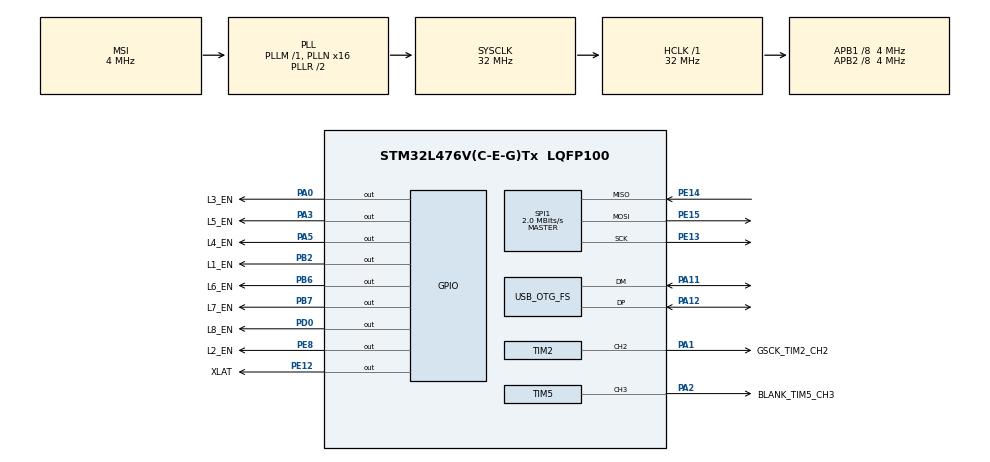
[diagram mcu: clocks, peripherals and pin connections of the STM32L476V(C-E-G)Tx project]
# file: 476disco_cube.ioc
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Mcu.Family=STM32L4
Mcu.Name=STM32L476V(C-E-G)Tx
Mcu.Package=LQFP100
NVIC.OTG_FS_IRQn=true\:0\:0\:false\:false\:true\:false\:true
NVIC.PriorityGroup=NVIC_PRIORITYGROUP_4
NVIC.TIM5_IRQn=true\:1\:0\:true\:false\:true\:true\:true
PA0.GPIO_Label=L3_EN
PA0.GPIO_ModeDefaultOutputPP=GPIO_MODE_OUTPUT_OD
PA0.PinState=GPIO_PIN_SET
PA0.Signal=GPIO_Output
PA1.GPIO_Label=GSCK_TIM2_CH2
PA1.Signal=S_TIM2_CH2
PA11.Mode=Device_Only
PA11.Signal=USB_OTG_FS_DM
PA12.Mode=Device_Only
PA12.Signal=USB_OTG_FS_DP
PA2.GPIO_Label=BLANK_TIM5_CH3
PA2.Signal=S_TIM5_CH3
PA3.GPIO_Label=L5_EN
PA3.GPIO_ModeDefaultOutputPP=GPIO_MODE_OUTPUT_OD
PA3.PinState=GPIO_PIN_SET
PA3.Signal=GPIO_Output
PA5.GPIO_Label=L4_EN
PA5.GPIO_ModeDefaultOutputPP=GPIO_MODE_OUTPUT_OD
PA5.PinState=GPIO_PIN_SET
PA5.Signal=GPIO_Output
PB2.GPIO_Label=L1_EN
PB2.GPIO_ModeDefaultOutputPP=GPIO_MODE_OUTPUT_OD
PB2.PinState=GPIO_PIN_SET
PB2.Signal=GPIO_Output
PB6.GPIO_Label=L6_EN
PB6.GPIO_ModeDefaultOutputPP=GPIO_MODE_OUTPUT_OD
PB6.PinState=GPIO_PIN_SET
PB6.Signal=GPIO_Output
PB7.GPIO_Label=L7_EN
PB7.GPIO_ModeDefaultOutputPP=GPIO_MODE_OUTPUT_OD
PB7.PinState=GPIO_PIN_SET
PB7.Signal=GPIO_Output
PD0.GPIO_Label=L8_EN
PD0.GPIO_ModeDefaultOutputPP=GPIO_MODE_OUTPUT_OD
PD0.PinState=GPIO_PIN_SET
PD0.Signal=GPIO_Output
PE12.GPIO_Label=XLAT
PE12.PinState=GPIO_PIN_RESET
PE12.Signal=GPIO_Output
PE13.Mode=Full_Duplex_Master
PE13.Signal=SPI1_SCK
PE14.Mode=Full_Duplex_Master
PE14.Signal=SPI1_MISO
PE15.Mode=Full_Duplex_Master
PE15.Signal=SPI1_MOSI
PE8.GPIO_Label=L2_EN
PE8.GPIO_ModeDefaultOutputPP=GPIO_MODE_OUTPUT_OD
PE8.PinState=GPIO_PIN_SET
PE8.Signal=GPIO_Output
ProjectManager.HeapSize=0x2000
ProjectManager.StackSize=0x4000
ProjectManager.TargetToolchain=MDK-ARM V5
RCC.ADCFreq_Value=48000000
RCC.AHBFreq_Value=32000000
RCC.APB1CLKDivider=RCC_HCLK_DIV8
RCC.APB1Freq_Value=4000000
RCC.APB1TimFreq_Value=8000000
RCC.APB2CLKDivider=RCC_HCLK_DIV8
RCC.APB2Freq_Value=4000000
RCC.APB2TimFreq_Value=8000000
RCC.CortexFreq_Value=4000000
RCC.Cortex_Div=SYSTICK_CLKSOURCE_HCLK_DIV8
RCC.HCLKFreq_Value=32000000
RCC.HSE_VALUE=8000000
RCC.HSI_VALUE=16000000
RCC.LSE_VALUE=32768
RCC.MSI_VALUE=4000000
RCC.PLLN=16
RCC.PLLSAI1N=24
RCC.SYSCLKFreq_VALUE=32000000
RCC.SYSCLKSource=RCC_SYSCLKSOURCE_PLLCLK
RCC.USBFreq_Value=48000000
RCC.VCOOutputFreq_Value=64000000
SH.S_TIM2_CH2.0=TIM2_CH2,Output Compare2 CH2
SH.S_TIM5_CH3.0=TIM5_CH3,Output Compare3 CH3
SPI1.CalculateBaudRate=2.0 MBits/s
SPI1.DataSize=SPI_DATASIZE_8BIT
SPI1.Direction=SPI_DIRECTION_2LINES
SPI1.Mode=SPI_MODE_MASTER
SPI1.VirtualType=VM_MASTER
TIM2.Channel-Output\ Compare2\ CH2=TIM_CHANNEL_2
TIM2.OCMode_2=TIM_OCMODE_TOGGLE
TIM2.Period=1
TIM2.Pulse-Output\ Compare2\ CH2=1
TIM5.Channel-Output\ Compare3\ CH3=TIM_CHANNEL_3
TIM5.OCMode_3=TIM_OCMODE_ACTIVE
TIM5.Period=16383
TIM5.Pulse-Output\ Compare3\ CH3=16383
TIM5.TIM_MasterOutputTrigger=TIM_TRGO_UPDATE
USB_DEVICE.CLASS_NAME_FS=CDC
USB_DEVICE.VirtualMode=Cdc
USB_DEVICE.VirtualModeFS=Cdc_FS
USB_OTG_FS.VirtualMode=Device_Only
VP_USB_DEVICE_VS_USB_DEVICE_CDC_FS.Mode=CDC_FS
board=custom

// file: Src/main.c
/**
  ******************************************************************************
  * @file           : main.c
  * @brief          : Main program body
  ******************************************************************************
  * This notice applies to any and all portions of this file
  * that are not between comment pairs USER CODE BEGIN and
  * USER CODE END. Other portions of this file, whether
  * inserted by the user or by software development tools
  * are owned by their respective copyright owners.
  *
  * Copyright (c) 2019 STMicroelectronics International N.V.
  * All rights reserved.
  *
  * Redistribution and use in source and binary forms, with or without
  * modification, are permitted, provided that the following conditions are met:
  *
  * 1. Redistribution of source code must retain the above copyright notice,
  *    this list of conditions and the following disclaimer.
  * 2. Redistributions in binary form must reproduce the above copyright notice,
  *    this list of conditions and the following disclaimer in the documentation
  *    and/or other materials provided with the distribution.
  * 3. Neither the name of STMicroelectronics nor the names of other
  *    contributors to this software may be used to endorse or promote products
  *    derived from this software without specific written permission.
  * 4. This software, including modifications and/or derivative works of this
  *    software, must execute solely and exclusively on microcontroller or
  *    microprocessor devices manufactured by or for STMicroelectronics.
  * 5. Redistribution and use of this software other than as permitted under
  *    this license is void and will automatically terminate your rights under
  *    this license.
  *
  * THIS SOFTWARE IS PROVIDED BY STMICROELECTRONICS AND CONTRIBUTORS "AS IS"
  * AND ANY EXPRESS, IMPLIED OR STATUTORY WARRANTIES, INCLUDING, BUT NOT
  * LIMITED TO, THE IMPLIED WARRANTIES OF MERCHANTABILITY, FITNESS FOR A
  * PARTICULAR PURPOSE AND NON-INFRINGEMENT OF THIRD PARTY INTELLECTUAL PROPERTY
  * RIGHTS ARE DISCLAIMED TO THE FULLEST EXTENT PERMITTED BY LAW. IN NO EVENT
  * SHALL STMICROELECTRONICS OR CONTRIBUTORS BE LIABLE FOR ANY DIRECT, INDIRECT,
  * INCIDENTAL, SPECIAL, EXEMPLARY, OR CONSEQUENTIAL DAMAGES (INCLUDING, BUT NOT
  * LIMITED TO, PROCUREMENT OF SUBSTITUTE GOODS OR SERVICES; LOSS OF USE, DATA,
  * OR PROFITS; OR BUSINESS INTERRUPTION) HOWEVER CAUSED AND ON ANY THEORY OF
  * LIABILITY, WHETHER IN CONTRACT, STRICT LIABILITY, OR TORT (INCLUDING
  * NEGLIGENCE OR OTHERWISE) ARISING IN ANY WAY OUT OF THE USE OF THIS SOFTWARE,
  * EVEN IF ADVISED OF THE POSSIBILITY OF SUCH DAMAGE.
  *
  ******************************************************************************
  */
#include "main.h"
#include "stm32l4xx_hal.h"
#include "usb_device.h"

/* USER CODE BEGIN Includes */
#define NUM_TLCS    12
#include "usbd_cdc_if.h"
#include <string.h>
/* USER CODE END Includes */

SPI_HandleTypeDef hspi1;

TIM_HandleTypeDef htim2;
TIM_HandleTypeDef htim5;

/* USER CODE BEGIN PV */
/* Private variables ---------------------------------------------------------*/

/* USER CODE END PV */

void SystemClock_Config(void);
static void MX_GPIO_Init(void);
static void MX_SPI1_Init(void);
static void MX_TIM2_Init(void);
static void MX_TIM5_Init(void);

void HAL_TIM_MspPostInit(TIM_HandleTypeDef *htim);

/* USER CODE BEGIN PFP */
void spi_convert(uint16_t *data16, uint8_t *data8);
void tlc_clear(uint16_t *data16);
void tlc_set(uint16_t *data16, int number, uint16_t brightness);
void tlc_update(uint16_t *data16, uint8_t *data8);
void intToStr(uint8_t *numVal, uint8_t *strVal);
/* Private function prototypes -----------------------------------------------*/

/* USER CODE END PFP */

/* USER CODE BEGIN 0 */

//lyr global variable indicates active cube layer.
uint8_t lyr = 0;

// Data Arrays
uint16_t data16[16*NUM_TLCS];
uint8_t data8[24*NUM_TLCS];

// Data Pointers
uint8_t *data8Ptr = &data8[0];
uint16_t *data16Ptr = &data16[0];

/* USER CODE END 0 */

int main(void)
{
  /* USER CODE BEGIN 1 */

		// Old mapping. May need Updating.
	int red[64] = {155,146,177,186,180,189,183,192,159,150,129,138,132,141,135,144,114,123,117,126,120,109,103,112,162,171,165,174,168,105,99,108,34,43,37,46,40,13,7,16,82,91,85,94,88,9,3,12,50,59,53,62,56,20,26,17,66,75,69,78,72,24,30,21};
	int grn[64] = {148,154,145,178,187,181,190,184,152,158,149,130,139,133,142,136,121,115,124,118,127,101,110,104,169,163,172,166,175,97,106,100,41,35,44,38,47,5,14,8,89,83,92,86,95,1,10,4,57,51,60,54,63,28,19,25,73,67,76,70,79,32,23,29};
	int blu[64] = {156,147,153,185,179,188,182,191,160,151,157,137,131,140,134,143,113,122,116,125,119,128,102,111,161,170,164,173,167,176,98,107,33,42,36,45,39,48,6,15,81,90,84,93,87,96,2,11,49,58,52,61,55,64,27,18,65,74,68,77,71,80,31,22};

	//uint8_t myBuf[20] = "Hello World \r\n";

  /* USER CODE END 1 */

  /* MCU Configuration----------------------------------------------------------*/

  /* Reset of all peripherals, Initializes the Flash interface and the Systick. */
  HAL_Init();

  /* Configure the system clock */
  SystemClock_Config();

  /* Initialize all configured peripherals */
  MX_GPIO_Init();
  MX_SPI1_Init();
  MX_USB_DEVICE_Init();
  MX_TIM2_Init();
  MX_TIM5_Init();
  /* USER CODE BEGIN 2 */

	//set indicates power off (pin is open drain); reset indicates power on (pin is grounded)
	// This pin referencing is slightly redundant. L8 needs to be reset since it's toggled during tim5ocstart (158)
	HAL_GPIO_WritePin(L8_EN_GPIO_Port, L8_EN_Pin, GPIO_PIN_RESET);
	HAL_GPIO_WritePin(L7_EN_GPIO_Port, L7_EN_Pin, GPIO_PIN_SET);
	HAL_GPIO_WritePin(L6_EN_GPIO_Port, L6_EN_Pin, GPIO_PIN_SET);
	HAL_GPIO_WritePin(L5_EN_GPIO_Port, L5_EN_Pin, GPIO_PIN_SET);
	HAL_GPIO_WritePin(L4_EN_GPIO_Port, L4_EN_Pin, GPIO_PIN_SET);
	HAL_GPIO_WritePin(L3_EN_GPIO_Port, L3_EN_Pin, GPIO_PIN_SET);
	HAL_GPIO_WritePin(L2_EN_GPIO_Port, L2_EN_Pin, GPIO_PIN_SET);
	HAL_GPIO_WritePin(L1_EN_GPIO_Port, L1_EN_Pin, GPIO_PIN_SET);

	HAL_TIM_OC_Start(&htim2, TIM_CHANNEL_2);	//
	HAL_TIM_Base_Start_IT(&htim5);
	HAL_TIM_OC_Start(&htim5, TIM_CHANNEL_3);	//

	HAL_SPI_Init(&hspi1);
  /* USER CODE END 2 */

  /* Infinite loop */
  while (1)
  {

  /* USER CODE BEGIN 3 */

	// Used for debugging purposes below.
	uint8_t k = 0;
	//uint8_t *kptr = &k;
	//uint8_t kstr[4];
	//uint8_t *kstrptr =&kstr[0];

	//Illuminates LEDs one at a time
	for (k = 0;k<16*NUM_TLCS;k++)
	{
	//remove later. Leave for now for example.
	//CDC_Transmit_FS(myBuf,strlen((char *)myBuf));
	tlc_clear(data16Ptr);
	tlc_set(data16Ptr,k, 4095);
	tlc_update(data16Ptr, data8Ptr);
		HAL_Delay(10);

	// Transmits and converts the current LED active over VCP!
	//intToStr(kptr,kstrptr);
	//CDC_Transmit_FS(kstrptr,strlen((char *)kstrptr));
	}
	}
  /* USER CODE END 3 */
}

void SystemClock_Config(void)
{

  RCC_OscInitTypeDef RCC_OscInitStruct;
  RCC_ClkInitTypeDef RCC_ClkInitStruct;
  RCC_PeriphCLKInitTypeDef PeriphClkInit;

    /**Initializes the CPU, AHB and APB busses clocks
    */
  RCC_OscInitStruct.OscillatorType = RCC_OSCILLATORTYPE_MSI;
  RCC_OscInitStruct.MSIState = RCC_MSI_ON;
  RCC_OscInitStruct.MSICalibrationValue = 0;
  RCC_OscInitStruct.MSIClockRange = RCC_MSIRANGE_6;
  RCC_OscInitStruct.PLL.PLLState = RCC_PLL_ON;
  RCC_OscInitStruct.PLL.PLLSource = RCC_PLLSOURCE_MSI;
  RCC_OscInitStruct.PLL.PLLM = 1;
  RCC_OscInitStruct.PLL.PLLN = 16;
  RCC_OscInitStruct.PLL.PLLP = RCC_PLLP_DIV7;
  RCC_OscInitStruct.PLL.PLLQ = RCC_PLLQ_DIV2;
  RCC_OscInitStruct.PLL.PLLR = RCC_PLLR_DIV2;
  if (HAL_RCC_OscConfig(&RCC_OscInitStruct) != HAL_OK)
  {
    _Error_Handler(__FILE__, __LINE__);
  }

    /**Initializes the CPU, AHB and APB busses clocks
    */
  RCC_ClkInitStruct.ClockType = RCC_CLOCKTYPE_HCLK|RCC_CLOCKTYPE_SYSCLK
                              |RCC_CLOCKTYPE_PCLK1|RCC_CLOCKTYPE_PCLK2;
  RCC_ClkInitStruct.SYSCLKSource = RCC_SYSCLKSOURCE_PLLCLK;
  RCC_ClkInitStruct.AHBCLKDivider = RCC_SYSCLK_DIV1;
  RCC_ClkInitStruct.APB1CLKDivider = RCC_HCLK_DIV8;
  RCC_ClkInitStruct.APB2CLKDivider = RCC_HCLK_DIV8;

  if (HAL_RCC_ClockConfig(&RCC_ClkInitStruct, FLASH_LATENCY_1) != HAL_OK)
  {
    _Error_Handler(__FILE__, __LINE__);
  }

  PeriphClkInit.PeriphClockSelection = RCC_PERIPHCLK_USB;
  PeriphClkInit.UsbClockSelection = RCC_USBCLKSOURCE_PLLSAI1;
  PeriphClkInit.PLLSAI1.PLLSAI1Source = RCC_PLLSOURCE_MSI;
  PeriphClkInit.PLLSAI1.PLLSAI1M = 1;
  PeriphClkInit.PLLSAI1.PLLSAI1N = 24;
  PeriphClkInit.PLLSAI1.PLLSAI1P = RCC_PLLP_DIV7;
  PeriphClkInit.PLLSAI1.PLLSAI1Q = RCC_PLLQ_DIV2;
  PeriphClkInit.PLLSAI1.PLLSAI1R = RCC_PLLR_DIV2;
  PeriphClkInit.PLLSAI1.PLLSAI1ClockOut = RCC_PLLSAI1_48M2CLK;
  if (HAL_RCCEx_PeriphCLKConfig(&PeriphClkInit) != HAL_OK)
  {
    _Error_Handler(__FILE__, __LINE__);
  }

    /**Configure the main internal regulator output voltage
    */
  if (HAL_PWREx_ControlVoltageScaling(PWR_REGULATOR_VOLTAGE_SCALE1) != HAL_OK)
  {
    _Error_Handler(__FILE__, __LINE__);
  }

    /**Configure the Systick interrupt time
    */
  HAL_SYSTICK_Config(HAL_RCC_GetHCLKFreq()/8000);

    /**Configure the Systick
    */
  HAL_SYSTICK_CLKSourceConfig(SYSTICK_CLKSOURCE_HCLK_DIV8);

  /* SysTick_IRQn interrupt configuration */
  HAL_NVIC_SetPriority(SysTick_IRQn, 0, 0);
}

/* SPI1 init function */
static void MX_SPI1_Init(void)
{

  /* SPI1 parameter configuration*/
  hspi1.Instance = SPI1;
  hspi1.Init.Mode = SPI_MODE_MASTER;
  hspi1.Init.Direction = SPI_DIRECTION_2LINES;
  hspi1.Init.DataSize = SPI_DATASIZE_8BIT;
  hspi1.Init.CLKPolarity = SPI_POLARITY_LOW;
  hspi1.Init.CLKPhase = SPI_PHASE_1EDGE;
  hspi1.Init.NSS = SPI_NSS_SOFT;
  hspi1.Init.BaudRatePrescaler = SPI_BAUDRATEPRESCALER_2;
  hspi1.Init.FirstBit = SPI_FIRSTBIT_MSB;
  hspi1.Init.TIMode = SPI_TIMODE_DISABLE;
  hspi1.Init.CRCCalculation = SPI_CRCCALCULATION_DISABLE;
  hspi1.Init.CRCPolynomial = 7;
  hspi1.Init.CRCLength = SPI_CRC_LENGTH_DATASIZE;
  hspi1.Init.NSSPMode = SPI_NSS_PULSE_ENABLE;
  if (HAL_SPI_Init(&hspi1) != HAL_OK)
  {
    _Error_Handler(__FILE__, __LINE__);
  }

}

/* TIM2 init function */
static void MX_TIM2_Init(void)
{

  TIM_MasterConfigTypeDef sMasterConfig;
  TIM_OC_InitTypeDef sConfigOC;

  htim2.Instance = TIM2;
  htim2.Init.Prescaler = 0;
  htim2.Init.CounterMode = TIM_COUNTERMODE_UP;
  htim2.Init.Period = 1;
  htim2.Init.ClockDivision = TIM_CLOCKDIVISION_DIV1;
  htim2.Init.AutoReloadPreload = TIM_AUTORELOAD_PRELOAD_DISABLE;
  if (HAL_TIM_OC_Init(&htim2) != HAL_OK)
  {
    _Error_Handler(__FILE__, __LINE__);
  }

  sMasterConfig.MasterOutputTrigger = TIM_TRGO_RESET;
  sMasterConfig.MasterSlaveMode = TIM_MASTERSLAVEMODE_DISABLE;
  if (HAL_TIMEx_MasterConfigSynchronization(&htim2, &sMasterConfig) != HAL_OK)
  {
    _Error_Handler(__FILE__, __LINE__);
  }

  sConfigOC.OCMode = TIM_OCMODE_TOGGLE;
  sConfigOC.Pulse = 1;
  sConfigOC.OCPolarity = TIM_OCPOLARITY_HIGH;
  sConfigOC.OCFastMode = TIM_OCFAST_DISABLE;
  if (HAL_TIM_OC_ConfigChannel(&htim2, &sConfigOC, TIM_CHANNEL_2) != HAL_OK)
  {
    _Error_Handler(__FILE__, __LINE__);
  }

  HAL_TIM_MspPostInit(&htim2);

}

/* TIM5 init function */
static void MX_TIM5_Init(void)
{

  TIM_MasterConfigTypeDef sMasterConfig;
  TIM_OC_InitTypeDef sConfigOC;

  htim5.Instance = TIM5;
  htim5.Init.Prescaler = 0;
  htim5.Init.CounterMode = TIM_COUNTERMODE_UP;
  htim5.Init.Period = 16383;
  htim5.Init.ClockDivision = TIM_CLOCKDIVISION_DIV1;
  htim5.Init.AutoReloadPreload = TIM_AUTORELOAD_PRELOAD_DISABLE;
  if (HAL_TIM_OC_Init(&htim5) != HAL_OK)
  {
    _Error_Handler(__FILE__, __LINE__);
  }

  sMasterConfig.MasterOutputTrigger = TIM_TRGO_UPDATE;
  sMasterConfig.MasterSlaveMode = TIM_MASTERSLAVEMODE_DISABLE;
  if (HAL_TIMEx_MasterConfigSynchronization(&htim5, &sMasterConfig) != HAL_OK)
  {
    _Error_Handler(__FILE__, __LINE__);
  }

  sConfigOC.OCMode = TIM_OCMODE_PWM2;
  sConfigOC.Pulse = 16383;
  sConfigOC.OCPolarity = TIM_OCPOLARITY_HIGH;
  sConfigOC.OCFastMode = TIM_OCFAST_DISABLE;
  if (HAL_TIM_OC_ConfigChannel(&htim5, &sConfigOC, TIM_CHANNEL_3) != HAL_OK)
  {
    _Error_Handler(__FILE__, __LINE__);
  }

  HAL_TIM_MspPostInit(&htim5);

}

/** Configure pins as
        * Analog
        * Input
        * Output
        * EVENT_OUT
        * EXTI
*/
static void MX_GPIO_Init(void)
{

  GPIO_InitTypeDef GPIO_InitStruct;

  /* GPIO Ports Clock Enable */
  __HAL_RCC_GPIOA_CLK_ENABLE();
  __HAL_RCC_GPIOB_CLK_ENABLE();
  __HAL_RCC_GPIOE_CLK_ENABLE();
  __HAL_RCC_GPIOD_CLK_ENABLE();

  /*Configure GPIO pin Output Level */
  HAL_GPIO_WritePin(GPIOA, L3_EN_Pin|L5_EN_Pin|L4_EN_Pin, GPIO_PIN_SET);

  /*Configure GPIO pin Output Level */
  HAL_GPIO_WritePin(GPIOB, L1_EN_Pin|L6_EN_Pin|L7_EN_Pin, GPIO_PIN_SET);

  /*Configure GPIO pin Output Level */
  HAL_GPIO_WritePin(L2_EN_GPIO_Port, L2_EN_Pin, GPIO_PIN_SET);

  /*Configure GPIO pin Output Level */
  HAL_GPIO_WritePin(XLAT_GPIO_Port, XLAT_Pin, GPIO_PIN_RESET);

  /*Configure GPIO pin Output Level */
  HAL_GPIO_WritePin(L8_EN_GPIO_Port, L8_EN_Pin, GPIO_PIN_SET);

  /*Configure GPIO pins : L3_EN_Pin L5_EN_Pin L4_EN_Pin */
  GPIO_InitStruct.Pin = L3_EN_Pin|L5_EN_Pin|L4_EN_Pin;
  GPIO_InitStruct.Mode = GPIO_MODE_OUTPUT_OD;
  GPIO_InitStruct.Pull = GPIO_NOPULL;
  GPIO_InitStruct.Speed = GPIO_SPEED_FREQ_LOW;
  HAL_GPIO_Init(GPIOA, &GPIO_InitStruct);

  /*Configure GPIO pins : L1_EN_Pin L6_EN_Pin L7_EN_Pin */
  GPIO_InitStruct.Pin = L1_EN_Pin|L6_EN_Pin|L7_EN_Pin;
  GPIO_InitStruct.Mode = GPIO_MODE_OUTPUT_OD;
  GPIO_InitStruct.Pull = GPIO_NOPULL;
  GPIO_InitStruct.Speed = GPIO_SPEED_FREQ_LOW;
  HAL_GPIO_Init(GPIOB, &GPIO_InitStruct);

  /*Configure GPIO pin : L2_EN_Pin */
  GPIO_InitStruct.Pin = L2_EN_Pin;
  GPIO_InitStruct.Mode = GPIO_MODE_OUTPUT_OD;
  GPIO_InitStruct.Pull = GPIO_NOPULL;
  GPIO_InitStruct.Speed = GPIO_SPEED_FREQ_LOW;
  HAL_GPIO_Init(L2_EN_GPIO_Port, &GPIO_InitStruct);

  /*Configure GPIO pin : XLAT_Pin */
  GPIO_InitStruct.Pin = XLAT_Pin;
  GPIO_InitStruct.Mode = GPIO_MODE_OUTPUT_PP;
  GPIO_InitStruct.Pull = GPIO_NOPULL;
  GPIO_InitStruct.Speed = GPIO_SPEED_FREQ_LOW;
  HAL_GPIO_Init(XLAT_GPIO_Port, &GPIO_InitStruct);

  /*Configure GPIO pin : L8_EN_Pin */
  GPIO_InitStruct.Pin = L8_EN_Pin;
  GPIO_InitStruct.Mode = GPIO_MODE_OUTPUT_OD;
  GPIO_InitStruct.Pull = GPIO_NOPULL;
  GPIO_InitStruct.Speed = GPIO_SPEED_FREQ_LOW;
  HAL_GPIO_Init(L8_EN_GPIO_Port, &GPIO_InitStruct);

}

/* USER CODE BEGIN 4 */

void tlc_set(uint16_t *data16, int number, uint16_t brightness){

	*(data16 + number) = brightness;

}

void tlc_clear(uint16_t *data16){

		for(int i=0; i<24*NUM_TLCS;i++){
		*(data16Ptr + i) = 0;
	}

}

void tlc_update(uint16_t *data16, uint8_t *data8){

	spi_convert(data16Ptr, data8Ptr);

	HAL_SPI_Transmit(&hspi1, data8, 24*NUM_TLCS, 10);
	HAL_GPIO_WritePin(XLAT_GPIO_Port, XLAT_Pin, GPIO_PIN_SET);
	// short delay (approx 3us)
	for(uint16_t dummyVar =1;dummyVar<15;dummyVar++);
	HAL_GPIO_WritePin(XLAT_GPIO_Port, XLAT_Pin, GPIO_PIN_RESET);

}

void spi_convert(uint16_t *data16, uint8_t *data8){

	int index8 = 0;
	int index16 = 0;
	int i = 0;

 while (index8 < 24*NUM_TLCS){
 switch (i) {

      case 0:
				*(data8 + index8) = *(data16 + index16);
				index8++;
        i++;
        break;

      case 1:
				*(data8 + index8) = ( (( (*(data16 + (index16 + 1))<<4) & 0xF0) >> 4) | ( ((*(data16 + index16)>>8) & 0x0F ) << 4));
				index8++;
        i++;
        break;

      case 2:
				*(data8 + index8) = (*(data16 + (index16 + 1))>>4);
				index8++;
				index16 = index16 + 2;
        i=0;
        break;}
			}
}

void HAL_TIM_PeriodElapsedCallback(TIM_HandleTypeDef *htim){

	if(lyr==0){
		HAL_GPIO_TogglePin(L8_EN_GPIO_Port, L8_EN_Pin);
		HAL_GPIO_TogglePin(L1_EN_GPIO_Port, L1_EN_Pin);}

	if(lyr==1){
		HAL_GPIO_TogglePin(L1_EN_GPIO_Port, L1_EN_Pin);
		HAL_GPIO_TogglePin(L2_EN_GPIO_Port, L2_EN_Pin);}

	if(lyr==2){
		HAL_GPIO_TogglePin(L2_EN_GPIO_Port, L2_EN_Pin);
		HAL_GPIO_TogglePin(L3_EN_GPIO_Port, L3_EN_Pin);}

	if(lyr==3){
		HAL_GPIO_TogglePin(L3_EN_GPIO_Port, L3_EN_Pin);
		HAL_GPIO_TogglePin(L4_EN_GPIO_Port, L4_EN_Pin);}

	if(lyr==4){
		HAL_GPIO_TogglePin(L4_EN_GPIO_Port, L4_EN_Pin);
		HAL_GPIO_TogglePin(L5_EN_GPIO_Port, L5_EN_Pin);}

	if(lyr==5){
		HAL_GPIO_TogglePin(L5_EN_GPIO_Port, L5_EN_Pin);
		HAL_GPIO_TogglePin(L6_EN_GPIO_Port, L6_EN_Pin);}

	if(lyr==6){
		HAL_GPIO_TogglePin(L6_EN_GPIO_Port, L6_EN_Pin);
		HAL_GPIO_TogglePin(L7_EN_GPIO_Port, L7_EN_Pin);}

	if(lyr==7){
		HAL_GPIO_TogglePin(L7_EN_GPIO_Port, L7_EN_Pin);
		HAL_GPIO_TogglePin(L8_EN_GPIO_Port, L8_EN_Pin);}

	lyr++;
	if(lyr==8) lyr = 0;
}

void CDC_ReceiveCallBack(uint8_t *buf, uint32_t len){
	CDC_Transmit_FS(buf, len);
}

//function defined specifically to convert integers 0~192 into strings
void intToStr(uint8_t *numVal, uint8_t *strVal)
{
	*(strVal) = (*(numVal)/100) + '0';
	*(strVal + 1) = ((*(numVal)%100)/10) + '0';
	*(strVal + 2) = (*(numVal)%10) + '0';
	*(strVal + 3) = '\n';
}

/* USER CODE END 4 */

void _Error_Handler(char *file, int line)
{
  while(1)
  {
  }
}

/************************ (C) COPYRIGHT STMicroelectronics *****END OF FILE****/
